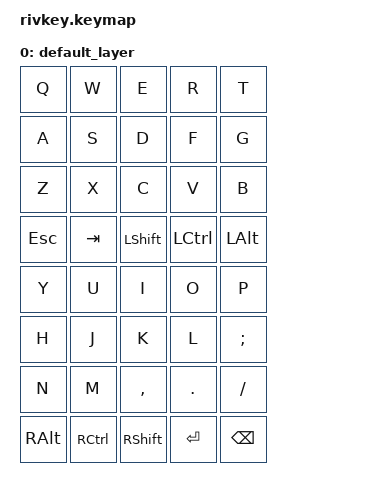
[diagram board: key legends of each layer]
#include <behaviors.dtsi>
#include <dt-bindings/zmk/keys.h>

/ {
    keymap {
        compatible = "zmk,keymap";

        default_layer {
            bindings = <
                /* 左側 */
                &kp Q    &kp W    &kp E    &kp R    &kp T
                &kp A    &kp S    &kp D    &kp F    &kp G
                &kp Z    &kp X    &kp C    &kp V    &kp B
                &kp ESC  &kp TAB  &kp LSHFT &kp LCTRL &kp LALT

                /* 右側 */
                &kp Y    &kp U    &kp I    &kp O    &kp P
                &kp H    &kp J    &kp K    &kp L    &kp SEMI
                &kp N    &kp M    &kp COMMA &kp DOT  &kp SLASH
                &kp RALT &kp RCTRL &kp RSHFT &kp ENTER &kp BSPC
            >;
        };
    };
};
